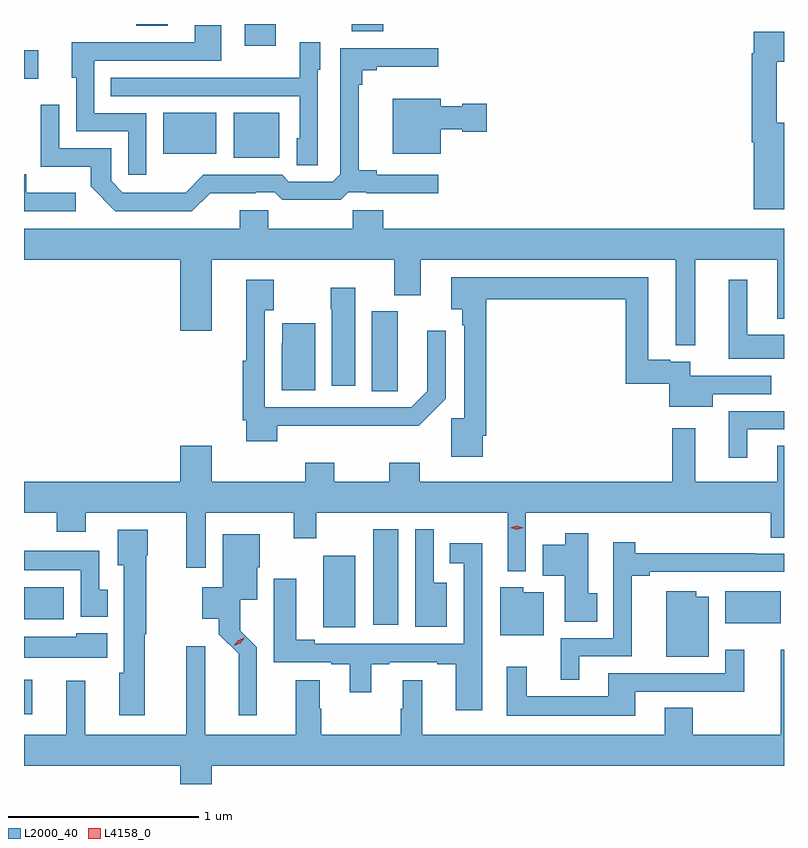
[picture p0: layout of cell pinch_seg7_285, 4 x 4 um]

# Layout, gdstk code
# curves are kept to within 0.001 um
import gdstk
lib = gdstk.Library(unit=1e-6, precision=1e-09)
def R(c, l, rs):  # rectangles x0, y0, x1, y1
    for r in rs: c.add(gdstk.rectangle(r[:2], r[2:], *l))
def P(c, l, *ps):  # polygons
    for p in ps: c.add(gdstk.Polygon(p, *l))
L2000_40 = (2000, 40)
L4158_0 = (4158, 0)

pinch_seg7_285 = lib.new_cell('pinch_seg7_285')
R(pinch_seg7_285, L2000_40, [(511.837,1050.171,511.88,1050.355), (513.413,1050.63,513.58,1051.006), (513.674,1050.642,513.808,1051.147), (515.528,1050.65,515.821,1050.82), (511.837,1050.671,512.047,1050.841), (512.942,1053.101,513.181,1053.337), (512.57,1053.122,512.848,1053.337), (511.837,1053.518,511.912,1053.667), (512.999,1053.69,513.163,1053.805), (513.563,1053.768,513.727,1053.805), (512.429,1053.797,512.593,1053.805)])
P(pinch_seg7_285, L2000_40, [(512.481,1053.336),(512.208,1053.336),(512.208,1053.612),(512.875,1053.612),(512.875,1053.799),(512.735,1053.799),(512.735,1053.708),(512.305,1053.708),(512.305,1053.71),(512.087,1053.71),(512.087,1053.522),(512.112,1053.522),(512.112,1053.24),(512.385,1053.24),(512.385,1053.012),(512.481,1053.012)],
  [(515.837,1053.286),(515.8,1053.286),(515.8,1053.607),(515.837,1053.607),(515.837,1053.763),(515.678,1053.763),(515.678,1053.65),(515.666,1053.65),(515.666,1053.182),(515.678,1053.182),(515.678,1052.829),(515.837,1052.829)],
  [(513.384,1053.564),(513.397,1053.564),(513.397,1053.709),(513.288,1053.709),(513.288,1053.523),(512.971,1053.523),(512.971,1053.522),(512.293,1053.522),(512.293,1053.426),(513.288,1053.426),(513.288,1053.204),(513.272,1053.204),(513.272,1053.061),(513.384,1053.061)],
  [(512.816,1052.915),(513.056,1052.915),(513.056,1052.919),(513.156,1052.919),(513.196,1052.88),(513.503,1052.88),(513.543,1052.919),(513.637,1052.919),(513.637,1052.915),(514.018,1052.915),(514.018,1053.012),(513.694,1053.012),(513.694,1053.035),(513.599,1053.035),(513.599,1053.485),(513.617,1053.485),(513.617,1053.562),(513.694,1053.562),(513.694,1053.581),(514.018,1053.581),(514.018,1053.678),(513.501,1053.678),(513.501,1053.015),(513.462,1052.976),(513.231,1052.976),(513.195,1053.012),(512.781,1053.012),(512.687,1052.918),(512.582,1052.918),(512.582,1052.916),(512.358,1052.916),(512.295,1052.979),(512.295,1053.15),(512.022,1053.15),(512.022,1053.379),(511.926,1053.379),(511.926,1053.053),(512.188,1053.053),(512.188,1052.951),(512.318,1052.82),(512.721,1052.82)],
  [(514.03,1053.251),(514.143,1053.251),(514.143,1053.239),(514.273,1053.239),(514.273,1053.386),(514.143,1053.386),(514.143,1053.373),(514.03,1053.373),(514.03,1053.412),(513.779,1053.412),(513.779,1053.122),(514.03,1053.122)],
  [(512.11,1052.917),(511.849,1052.917),(511.849,1053.013),(511.837,1053.013),(511.837,1052.82),(512.11,1052.82)],
  [(513.785,1052.377),(513.925,1052.377),(513.925,1052.564),(515.267,1052.564),(515.267,1052.227),(515.268,1052.227),(515.268,1052.115),(515.371,1052.115),(515.371,1052.564),(515.801,1052.564),(515.801,1052.255),(515.837,1052.255),(515.837,1052.728),(513.728,1052.728),(513.728,1052.826),(513.568,1052.826),(513.568,1052.728),(513.123,1052.728),(513.123,1052.826),(512.972,1052.826),(512.972,1052.728),(511.837,1052.728),(511.837,1052.564),(512.66,1052.564),(512.66,1052.19),(512.824,1052.19),(512.824,1052.564),(513.785,1052.564)],
  [(514.252,1051.639),(514.271,1051.639),(514.271,1052.356),(515.005,1052.356),(515.005,1051.912),(515.234,1051.912),(515.234,1051.79),(515.461,1051.79),(515.461,1051.857),(515.77,1051.857),(515.77,1051.953),(515.344,1051.953),(515.344,1052.028),(515.238,1052.028),(515.238,1052.039),(515.122,1052.039),(515.122,1052.472),(514.085,1052.472),(514.085,1052.303),(514.143,1052.303),(514.143,1052.219),(514.155,1052.219),(514.155,1051.731),(514.086,1051.731),(514.086,1051.527),(514.252,1051.527)],
  [(513.169,1051.691),(513.915,1051.691),(514.056,1051.832),(514.056,1052.191),(513.959,1052.191),(513.959,1051.871),(513.876,1051.788),(513.105,1051.788),(513.105,1052.298),(513.151,1052.298),(513.151,1052.458),(513.008,1052.458),(513.008,1052.033),(512.989,1052.033),(512.989,1051.72),(513.008,1051.72),(513.008,1051.608),(513.169,1051.608)],
  [(515.837,1052.17),(515.644,1052.17),(515.644,1052.458),(515.546,1052.458),(515.546,1052.042),(515.837,1052.042)],
  [(513.58,1052.416),(513.451,1052.416),(513.451,1052.303),(513.458,1052.303),(513.458,1051.902),(513.58,1051.902)],
  [(513.804,1051.981),(513.805,1051.981),(513.805,1052.292),(513.668,1052.292),(513.668,1051.873),(513.804,1051.873)],
  [(513.37,1052.229),(513.195,1052.229),(513.195,1052.126),(513.194,1052.126),(513.194,1051.877),(513.37,1051.877)],
  [(515.644,1051.671),(515.837,1051.671),(515.837,1051.767),(515.546,1051.767),(515.546,1051.521),(515.644,1051.521)],
  [(514.479,1051.232),(515.768,1051.232),(515.768,1051.102),(515.837,1051.102),(515.837,1051.586),(515.801,1051.586),(515.801,1051.396),(515.371,1051.396),(515.371,1051.678),(515.25,1051.678),(515.25,1051.396),(513.92,1051.396),(513.92,1051.495),(513.76,1051.495),(513.76,1051.396),(513.471,1051.396),(513.471,1051.495),(513.316,1051.495),(513.316,1051.396),(512.824,1051.396),(512.824,1051.585),(512.66,1051.585),(512.66,1051.396),(511.837,1051.396),(511.837,1051.232),(512.009,1051.232),(512.009,1051.133),(512.161,1051.133),(512.161,1051.232),(512.69,1051.232),(512.69,1050.942),(512.794,1050.942),(512.794,1051.232),(513.257,1051.232),(513.257,1051.098),(513.375,1051.098),(513.375,1051.232),(514.382,1051.232),(514.382,1050.926),(514.479,1050.926)],
  [(514.063,1050.865),(513.993,1050.865),(513.993,1051.147),(513.897,1051.147),(513.897,1050.633),(514.063,1050.633)],
  [(512.473,1050.594),(512.481,1050.594),(512.481,1051.008),(512.488,1051.008),(512.488,1051.144),(512.33,1051.144),(512.33,1050.957),(512.363,1050.957),(512.363,1050.39),(512.339,1050.39),(512.339,1050.168),(512.473,1050.168)],
  [(514.853,1050.81),(514.807,1050.81),(514.807,1051.126),(514.685,1051.126),(514.685,1051.063),(514.568,1051.063),(514.568,1050.902),(514.682,1050.902),(514.682,1050.658),(514.853,1050.658)],
  [(513.063,1050.525),(512.976,1050.612),(512.976,1050.776),(513.064,1050.776),(513.064,1050.945),(513.079,1050.945),(513.079,1051.12),(512.882,1051.12),(512.882,1050.841),(512.774,1050.841),(512.774,1050.674),(512.863,1050.674),(512.863,1050.593),(512.967,1050.49),(512.966,1050.168),(513.063,1050.168)],
  [(514.759,1050.477),(515.036,1050.477),(515.036,1050.901),(515.131,1050.901),(515.131,1050.921),(515.837,1050.921),(515.837,1051.017),(515.684,1051.017),(515.684,1051.019),(515.054,1051.019),(515.054,1051.078),(514.938,1051.078),(514.938,1050.573),(514.661,1050.573),(514.661,1050.353),(514.759,1050.353)],
  [(514.249,1050.54),(514.248,1050.54),(514.248,1051.072),(514.078,1051.072),(514.078,1050.966),(514.152,1050.966),(514.152,1050.543),(513.367,1050.543),(513.367,1050.563),(513.271,1050.563),(513.271,1050.886),(513.152,1050.886),(513.152,1050.447),(513.455,1050.447),(513.455,1050.435),(513.551,1050.435),(513.551,1050.288),(513.664,1050.288),(513.664,1050.435),(513.76,1050.435),(513.76,1050.447),(514.013,1050.447),(514.013,1050.435),(514.109,1050.435),(514.109,1050.192),(514.249,1050.192)],
  [(512.278,1050.828),(512.233,1050.828),(512.233,1051.033),(511.837,1051.033),(511.837,1050.929),(512.136,1050.929),(512.136,1050.684),(512.278,1050.684)],
  [(514.573,1050.814),(514.464,1050.814),(514.464,1050.841),(514.343,1050.841),(514.343,1050.587),(514.573,1050.587)],
  [(515.44,1050.79),(515.374,1050.79),(515.374,1050.82),(515.216,1050.82),(515.216,1050.476),(515.44,1050.476)],
  [(512.275,1050.598),(512.112,1050.598),(512.112,1050.58),(511.837,1050.58),(511.837,1050.47),(512.275,1050.47)],
  [(512.824,1049.9),(515.837,1049.9),(515.837,1050.511),(515.819,1050.511),(515.819,1050.064),(515.358,1050.064),(515.358,1050.206),(515.21,1050.206),(515.21,1050.064),(513.934,1050.064),(513.934,1050.352),(513.83,1050.352),(513.83,1050.2),(513.82,1050.2),(513.82,1050.064),(513.402,1050.064),(513.402,1050.2),(513.394,1050.2),(513.394,1050.352),(513.266,1050.352),(513.266,1050.064),(512.791,1050.064),(512.791,1050.529),(512.69,1050.529),(512.69,1050.064),(512.159,1050.064),(512.159,1050.349),(512.06,1050.349),(512.06,1050.064),(511.837,1050.064),(511.837,1049.9),(512.66,1049.9),(512.66,1049.805),(512.824,1049.805)],
  [(515.053,1050.291),(515.627,1050.291),(515.627,1050.511),(515.529,1050.511),(515.529,1050.387),(514.913,1050.387),(514.913,1050.268),(514.483,1050.268),(514.483,1050.421),(514.379,1050.421),(514.379,1050.164),(515.053,1050.164)])
P(pinch_seg7_285, L4158_0, [(514.431,1051.144),(514.396,1051.154),(514.395,1051.154),(514.396,1051.154),(514.431,1051.164),(514.466,1051.155),(514.466,1051.154),(514.466,1051.154)],
  [(512.941,1050.532),(512.941,1050.532),(512.964,1050.562),(512.998,1050.576),(512.998,1050.576),(512.998,1050.576),(512.976,1050.546),(512.942,1050.532)])

lib.write_gds('pinch_seg7_285.gds')
